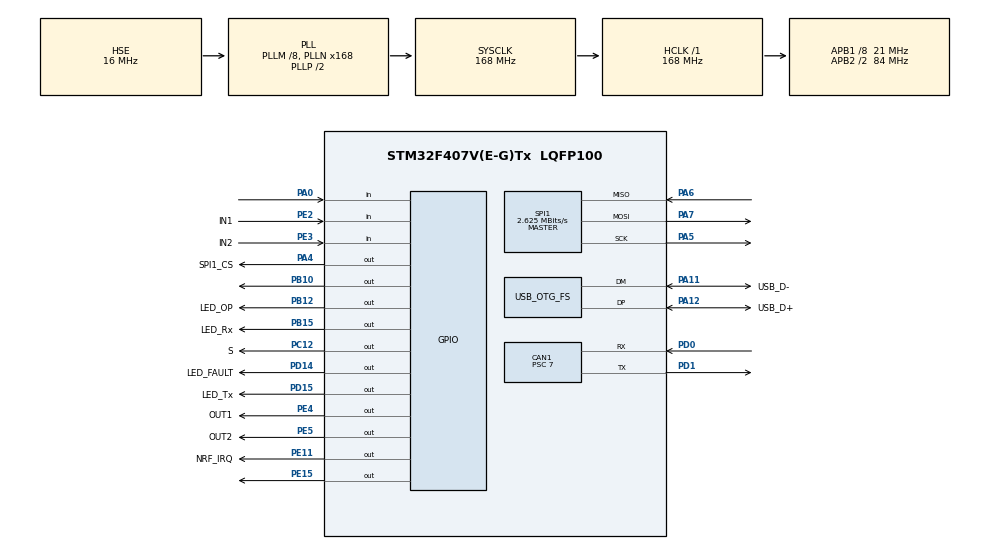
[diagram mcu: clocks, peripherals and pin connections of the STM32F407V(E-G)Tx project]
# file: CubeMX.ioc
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CAN1.BS1=CAN_BS1_3TQ
CAN1.BS2=CAN_BS2_2TQ
CAN1.CalculateBaudRate=500000
CAN1.CalculateTimeBit=1999.99
CAN1.CalculateTimeQuantum=333.33333333333337
CAN1.Mode=CAN_MODE_NORMAL
CAN1.Prescaler=7
Mcu.Family=STM32F4
Mcu.Name=STM32F407V(E-G)Tx
Mcu.Package=LQFP100
NVIC.CAN1_RX0_IRQn=true\:0\:0\:false\:false\:true\:true\:true
NVIC.OTG_FS_IRQn=true\:0\:0\:false\:false\:true\:false\:true
NVIC.PriorityGroup=NVIC_PRIORITYGROUP_4
PA0-WKUP.Signal=GPIO_Input
PA11.GPIO_Label=USB_D-
PA11.Mode=Device_Only
PA11.Signal=USB_OTG_FS_DM
PA12.GPIO_Label=USB_D+
PA12.Mode=Device_Only
PA12.Signal=USB_OTG_FS_DP
PA13.GPIO_Label=SWDIO
PA13.Mode=Trace_Asynchronous_SW
PA13.Signal=SYS_JTMS-SWDIO
PA14.GPIO_Label=SWCLK
PA14.Mode=Trace_Asynchronous_SW
PA14.Signal=SYS_JTCK-SWCLK
PA4.GPIO_Label=SPI1_CS
PA4.Signal=GPIO_Output
PA5.Mode=Full_Duplex_Master
PA5.Signal=SPI1_SCK
PA6.Mode=Full_Duplex_Master
PA6.Signal=SPI1_MISO
PA7.Mode=Full_Duplex_Master
PA7.Signal=SPI1_MOSI
PB10.Signal=GPIO_Output
PB12.GPIO_Label=LED_OP
PB12.Signal=GPIO_Output
PB15.GPIO_Label=LED_Rx
PB15.Signal=GPIO_Output
PB3.Mode=Trace_Asynchronous_SW
PB3.Signal=SYS_JTDO-SWO
PC12.GPIO_Label=S
PC12.Signal=GPIO_Output
PD0.Mode=CAN_Activate
PD0.Signal=CAN1_RX
PD1.Mode=CAN_Activate
PD1.Signal=CAN1_TX
PD14.GPIO_Label=LED_FAULT
PD14.Signal=GPIO_Output
PD15.GPIO_Label=LED_Tx
PD15.Signal=GPIO_Output
PE11.GPIO_Label=NRF_IRQ
PE11.Signal=GPIO_Output
PE15.Signal=GPIO_Output
PE2.GPIO_Label=IN1
PE2.Signal=GPIO_Input
PE3.GPIO_Label=IN2
PE3.Signal=GPIO_Input
PE4.GPIO_Label=OUT1
PE4.Signal=GPIO_Output
PE5.GPIO_Label=OUT2
PE5.Signal=GPIO_Output
PH0-OSC_IN.GPIO_Label=HSE_IN
PH0-OSC_IN.Mode=HSE-External-Oscillator
PH0-OSC_IN.Signal=RCC_OSC_IN
PH1-OSC_OUT.GPIO_Label=HSE_OUT
PH1-OSC_OUT.Mode=HSE-External-Oscillator
PH1-OSC_OUT.Signal=RCC_OSC_OUT
ProjectManager.HeapSize=0x200
ProjectManager.StackSize=0x400
ProjectManager.TargetToolchain=STM32CubeIDE
RCC.48MHZClocksFreq_Value=48000000
RCC.AHBFreq_Value=168000000
RCC.APB1CLKDivider=RCC_HCLK_DIV8
RCC.APB1Freq_Value=21000000
RCC.APB1TimFreq_Value=42000000
RCC.APB2CLKDivider=RCC_HCLK_DIV2
RCC.APB2Freq_Value=84000000
RCC.APB2TimFreq_Value=168000000
RCC.CortexFreq_Value=168000000
RCC.HCLKFreq_Value=168000000
RCC.HSE_VALUE=16000000
RCC.HSI_VALUE=16000000
RCC.LSE_VALUE=32768
RCC.PLLM=8
RCC.PLLN=168
RCC.PLLQ=7
RCC.SYSCLKFreq_VALUE=168000000
RCC.SYSCLKSource=RCC_SYSCLKSOURCE_PLLCLK
RCC.VCOOutputFreq_Value=336000000
SPI1.BaudRatePrescaler=SPI_BAUDRATEPRESCALER_32
SPI1.CalculateBaudRate=2.625 MBits/s
SPI1.Direction=SPI_DIRECTION_2LINES
SPI1.Mode=SPI_MODE_MASTER
SPI1.VirtualType=VM_MASTER
TIM2.Period=255-1
TIM2.Prescaler=646-1
USB_DEVICE.CLASS_NAME_FS=CDC
USB_DEVICE.VirtualMode-CDC_FS=Cdc
USB_DEVICE.VirtualModeFS=Cdc_FS
USB_OTG_FS.VirtualMode=Device_Only
VP_TIM2_VS_ClockSourceINT.Mode=Internal
VP_USB_DEVICE_VS_USB_DEVICE_CDC_FS.Mode=CDC_FS
board=custom

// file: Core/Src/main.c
/* USER CODE BEGIN Header */
/**
  ******************************************************************************
  * File           : main.c
  * Brief          : STM32 Development Board
  * Authors		   : Team 19
  * Version        : 1.0
  * Created		   : Sept 4, 2021
  * Last Modified  : Oct 15, 2021
  ******************************************************************************
  * @attention
  *
  * <h2><center>&copy; Copyright (c) 2021 STMicroelectronics.
  * All rights reserved.</center></h2>
  *
  * This software component is licensed by ST under Ultimate Liberty license
  * SLA0044, the "License"; You may not use this file except in compliance with
  * the License. You may obtain a copy of the License at:
  *                             www.st.com/SLA0044
  *
  ******************************************************************************
  */
/* USER CODE END Header */
#include "main.h"
#include "usb_device.h"

/* USER CODE BEGIN Includes */
#include "NRF24L01.h"
#include "string.h"
/* USER CODE END Includes */

CAN_HandleTypeDef hcan1;

SPI_HandleTypeDef hspi1;

TIM_HandleTypeDef htim2;

void SystemClock_Config(void);
static void MX_GPIO_Init(void);
static void MX_CAN1_Init(void);
static void MX_SPI1_Init(void);
static void MX_TIM2_Init(void);

/* USER CODE BEGIN 0 */

uint8_t TxAddress[] = {0xEE,0xDD,0xCC,0xBB,0xAA}; //RF transmit address
uint8_t RxAddress[] = {0xEE,0xDD,0xCC,0xBB,0xAA}; //RF receive address

CAN_TxHeaderTypeDef TxHeader; //CAN transmit header initialisation
CAN_RxHeaderTypeDef RxHeader; //CAN receive header initialisation
uint32_t TxMailbox; //CAN transmit mailbox initialisation

	/* This program assumes the data being sent over RF is the same being sent over a CAN Bus.
	 * If the user wishes to send different data over RF and CAN, or wishes to send 32 bytes
	 * of data over RF, separate TxData and RxData arrays should be specified for RF and CAN.
	 * Eg. TxDataRF[]= "Hello World /n" and RxData[32] */

/* PROJECT CODE VARIABLE AND DATA ARRAY DEFINITION BEGIN */
int datacheck = 0;
uint8_t TxData[8]; //RF and CAN transmit data array
uint8_t RxData[8]; //RF and CAN receive data array
/* PROJECT CODE VARIABLE AND DATA ARRAY DEFINITION END */

void HAL_CAN_RxFifo0MsgPendingCallback(CAN_HandleTypeDef *hcan1)
{
	HAL_CAN_GetRxMessage(hcan1, CAN_RX_FIFO0, &RxHeader, RxData); // Reads the data received in CAN FIFO

	/* PROJECT CODE CAN DATA PROCESSING BEGIN */
	if (RxHeader.DLC == 2) // EXAMPLE CODE: Change value if DLC also changes
	{
		datacheck = 1;
	}
	/* PROJECT CODE CAN DATA PROCESSING END */
}
/* USER CODE END 0 */

int main(void)
{

  /* MCU Configuration--------------------------------------------------------*/

  /* Reset of all peripherals, Initializes the Flash interface and the Systick. */
  HAL_Init();

  /* Configure the system clock */
  SystemClock_Config();

  /* Initialize all configured peripherals */
  MX_GPIO_Init();
  MX_CAN1_Init();
  MX_SPI1_Init();
  MX_USB_DEVICE_Init();
  MX_TIM2_Init();
  /* USER CODE BEGIN 2 */

  nrfInit(); // Initialise NRF24L01

  /* PROJECT CODE RF CHANNEL BEGIN */
  nrfTxMode(TxAddress,0x0A); // Edit second argument to change channel for RF transmit
  nrfRxMode(RxAddress, 0x0A); // Edit second argument to change channel for RF receive
  /* PROJECT CODE RF CHANNEL END */

  HAL_CAN_Start(&hcan1);

  HAL_CAN_ActivateNotification(&hcan1, CAN_IT_RX_FIFO0_MSG_PENDING); // Activate notification if data

  /* PROJECT CODE CAN HEADER CONFIGURATION BEGIN */
  TxHeader.DLC = 2; // Edit this value to send up to 8 bytes of data in a CAN message.
  TxHeader.ExtId = 0;
  TxHeader.IDE = CAN_ID_STD; // standard CAN frame
  TxHeader.RTR = CAN_RTR_DATA;
  TxHeader.StdId = 0x103; // ID of the sender
  TxHeader.TransmitGlobalTime = DISABLE;
  /* PROJECT CODE CAN HEADER CONFIGURATION END */

  	  /* PROJECT CODE DATA FRAME CONTENT BEGIN */
  	  /* The user can define the data for each array position.
  	   * An example below uses 2 bytes to send LED animation data.
  	   */
  TxData[0] = 200;  // EXAMPLE CODE: Delay between LED blinks in milliseconds (ms)
  TxData[1] = 12; // EXAMPLE CODE: How many times LED blinks
  /* PROJECT CODE DATA FRAME CONTENT END */

  /* Delete comment (//) below if programming a CAN transmitter */
  // HAL_CAN_AddTxMessage(&hcan1, &TxHeader, TxData, &TxMailbox); // Sends message using header and data input defined in fields above

  /* USER CODE END 2 */

  /* Infinite loop */
  while (1)
  {

    /* USER CODE BEGIN 3 */

	  HAL_GPIO_WritePin(GPIOB,LED_OP_Pin,GPIO_PIN_SET); // LED_OP pin is constant HIGH when device is operating as expected

	/* NOTE: The current configuration is for an RF device in RECEIVER mode. If the user wishes
	 * to use this device in TRANSMITTER mode, swap code by commenting each line within RF
	 * RECEIVE MODE and uncommenting RF TRANSMIT MODE.
	 */

	/* RF RECEIVER MODE START */
	  if (dataAvailability(1) == 1) // Check to see if RF Rx data is available to read
	  {
		  nrfReceive(RxData); // Read data to RxData array
		  HAL_GPIO_TogglePin(GPIOB, LED_Rx_Pin); // Flash Rx LED when data is being received

		  /* PROJECT CODE RF DATA PROCESSING BEGIN */
		  	  //EXAMPLE CODE: Blink external LED for RxData[1] number of times with RxData[0] delay.
		  	  for (int i=0; i<RxData[1]; i++)
		  	  {
		  		  HAL_GPIO_TogglePin(GPIOE, OUT1_Pin);
		  		  HAL_Delay(RxData[0]);
		  	  }
		  /* PROJECT CODE RF DATA PROCESSING END */
	  }
	  else
	  {
		  HAL_GPIO_WritePin(GPIOB,LED_OP_Pin,GPIO_PIN_RESET); // Blink LED_OP to indicate no connection/idle state
	  	  HAL_Delay(1000); // Wait 1 second before restarting loop
	  }

	/* RF RECEIVER MODE END */

	/* RF TRANSMITTER MODE START

	   if (nrfTransmIdit(TxData) == 1) // Check to see if Tx data is being transmitted
	  {
		  HAL_GPIO_TogglePin(GPIOD, LED_Tx_Pin); // Flash Rx LED when data is being transmitted
	  }
	  else
	  {
	  	  HAL_GPIO_WritePin(GPIOB,LED_OP_Pin,GPIO_PIN_RESET); // Blink LED_OP to indicate no connection/idle state
	  	  HAL_DELAY(1000); // Wait 1 second before restarting loop
	  }

	  HAL_Delay(1000); // EXAMPLE CODE: Wait 1 second before transmitting data again. If the user
	  	  	  	  	   // requires data to be sent after a trigger (button press), remove the delay.

	   RF TRANSMITTER MODE END */

	  if (datacheck) // Checks to see if CAN message has been sent with expected number of bytes
	  {
		  /* PROJECT CODE RF DATA PROCESSING BEGIN */
		  	  //EXAMPLE CODE: Blink external LED for RxData[1] number of times with RxData[0] delay.
		  	  for (int i=0; i<RxData[1]; i++)
		  	  {
		  		  HAL_GPIO_TogglePin(GPIOE, OUT1_Pin); //blink LED at output Pin
		  		  HAL_Delay(RxData[0]);
		  	  }
		  /* PROJECT CODE CAN DATA PROCESSING END */

		  /* EXAMPLE CODE: With the line of code below enabled, two CAN devices will send
		   * data continuously back and forth. Removing the line will ensure this device
		   * will not transmit a message following a data read.
		   */
		  HAL_CAN_AddTxMessage(&hcan1, &TxHeader, TxData, &TxMailbox); // Sends message using header and data array input as defined in fields.
		  datacheck = 0;
	  }
  }
  /* USER CODE END 3 */
}

void SystemClock_Config(void)
{
  RCC_OscInitTypeDef RCC_OscInitStruct = {0};
  RCC_ClkInitTypeDef RCC_ClkInitStruct = {0};

  /** Configure the main internal regulator output voltage
  */
  __HAL_RCC_PWR_CLK_ENABLE();
  __HAL_PWR_VOLTAGESCALING_CONFIG(PWR_REGULATOR_VOLTAGE_SCALE1);
  /** Initializes the RCC Oscillators according to the specified parameters
  * in the RCC_OscInitTypeDef structure.
  */
  RCC_OscInitStruct.OscillatorType = RCC_OSCILLATORTYPE_HSE;
  RCC_OscInitStruct.HSEState = RCC_HSE_ON;
  RCC_OscInitStruct.PLL.PLLState = RCC_PLL_ON;
  RCC_OscInitStruct.PLL.PLLSource = RCC_PLLSOURCE_HSE;
  RCC_OscInitStruct.PLL.PLLM = 8;
  RCC_OscInitStruct.PLL.PLLN = 168;
  RCC_OscInitStruct.PLL.PLLP = RCC_PLLP_DIV2;
  RCC_OscInitStruct.PLL.PLLQ = 7;
  if (HAL_RCC_OscConfig(&RCC_OscInitStruct) != HAL_OK)
  {
    Error_Handler();
  }
  /** Initializes the CPU, AHB and APB buses clocks
  */
  RCC_ClkInitStruct.ClockType = RCC_CLOCKTYPE_HCLK|RCC_CLOCKTYPE_SYSCLK
                              |RCC_CLOCKTYPE_PCLK1|RCC_CLOCKTYPE_PCLK2;
  RCC_ClkInitStruct.SYSCLKSource = RCC_SYSCLKSOURCE_PLLCLK;
  RCC_ClkInitStruct.AHBCLKDivider = RCC_SYSCLK_DIV1;
  RCC_ClkInitStruct.APB1CLKDivider = RCC_HCLK_DIV8;
  RCC_ClkInitStruct.APB2CLKDivider = RCC_HCLK_DIV2;

  if (HAL_RCC_ClockConfig(&RCC_ClkInitStruct, FLASH_LATENCY_5) != HAL_OK)
  {
    Error_Handler();
  }
}

static void MX_CAN1_Init(void)
{

  hcan1.Instance = CAN1;
  hcan1.Init.Prescaler = 4-1;
  hcan1.Init.Mode = CAN_MODE_NORMAL;
  hcan1.Init.SyncJumpWidth = CAN_SJW_1TQ;
  hcan1.Init.TimeSeg1 = CAN_BS1_3TQ;
  hcan1.Init.TimeSeg2 = CAN_BS2_3TQ;
  hcan1.Init.TimeTriggeredMode = DISABLE;
  hcan1.Init.AutoBusOff = DISABLE;
  hcan1.Init.AutoWakeUp = DISABLE;
  hcan1.Init.AutoRetransmission = DISABLE;
  hcan1.Init.ReceiveFifoLocked = DISABLE;
  hcan1.Init.TransmitFifoPriority = DISABLE;
  if (HAL_CAN_Init(&hcan1) != HAL_OK)
  {
    Error_Handler();
  }
  /* USER CODE BEGIN CAN1_Init 2 */
  CAN_FilterTypeDef canfilterconfig;

  /* PROJECT CODE CAN FILTER CONFIGURATION BEGIN */
  canfilterconfig.FilterActivation = CAN_FILTER_ENABLE;
  canfilterconfig.FilterBank = 10; // Edit to choose which filter bank to use
  canfilterconfig.FilterFIFOAssignment = CAN_FILTER_FIFO0;
  canfilterconfig.FilterIdHigh = 0x446<<5; // Edit to specify the CAN identifier/s permitted
  canfilterconfig.FilterIdLow = 0;
  canfilterconfig.FilterMaskIdHigh = 0x446<<5; // Edit to specify the CAN identifier/s permitted
  canfilterconfig.FilterMaskIdLow = 0x0000;
  canfilterconfig.FilterMode = CAN_FILTERMODE_IDMASK;
  canfilterconfig.FilterScale = CAN_FILTERSCALE_32BIT;
  canfilterconfig.SlaveStartFilterBank = 13; // Edit to specify how many filters to assign to CAN1 (master)
  /* PROJECT CODE CAN FILTER CONFIGURATION END */

  HAL_CAN_ConfigFilter(&hcan1, &canfilterconfig);
  /* USER CODE END CAN1_Init 2 */

}

static void MX_SPI1_Init(void)
{

  /* SPI1 parameter configuration*/
  hspi1.Instance = SPI1;
  hspi1.Init.Mode = SPI_MODE_MASTER;
  hspi1.Init.Direction = SPI_DIRECTION_2LINES;
  hspi1.Init.DataSize = SPI_DATASIZE_8BIT;
  hspi1.Init.CLKPolarity = SPI_POLARITY_LOW;
  hspi1.Init.CLKPhase = SPI_PHASE_1EDGE;
  hspi1.Init.NSS = SPI_NSS_SOFT;
  hspi1.Init.BaudRatePrescaler = SPI_BAUDRATEPRESCALER_32;
  hspi1.Init.FirstBit = SPI_FIRSTBIT_MSB;
  hspi1.Init.TIMode = SPI_TIMODE_DISABLE;
  hspi1.Init.CRCCalculation = SPI_CRCCALCULATION_DISABLE;
  hspi1.Init.CRCPolynomial = 10;
  if (HAL_SPI_Init(&hspi1) != HAL_OK)
  {
    Error_Handler();
  }

}

static void MX_TIM2_Init(void)
{

  TIM_ClockConfigTypeDef sClockSourceConfig = {0};
  TIM_MasterConfigTypeDef sMasterConfig = {0};

  htim2.Instance = TIM2;
  htim2.Init.Prescaler = 646-1;
  htim2.Init.CounterMode = TIM_COUNTERMODE_UP;
  htim2.Init.Period = 255-1;
  htim2.Init.ClockDivision = TIM_CLOCKDIVISION_DIV1;
  htim2.Init.AutoReloadPreload = TIM_AUTORELOAD_PRELOAD_DISABLE;
  if (HAL_TIM_Base_Init(&htim2) != HAL_OK)
  {
    Error_Handler();
  }
  sClockSourceConfig.ClockSource = TIM_CLOCKSOURCE_INTERNAL;
  if (HAL_TIM_ConfigClockSource(&htim2, &sClockSourceConfig) != HAL_OK)
  {
    Error_Handler();
  }
  sMasterConfig.MasterOutputTrigger = TIM_TRGO_RESET;
  sMasterConfig.MasterSlaveMode = TIM_MASTERSLAVEMODE_DISABLE;
  if (HAL_TIMEx_MasterConfigSynchronization(&htim2, &sMasterConfig) != HAL_OK)
  {
    Error_Handler();
  }

}

static void MX_GPIO_Init(void)
{
  GPIO_InitTypeDef GPIO_InitStruct = {0};

  /* GPIO Ports Clock Enable */
  __HAL_RCC_GPIOE_CLK_ENABLE();
  __HAL_RCC_GPIOH_CLK_ENABLE();
  __HAL_RCC_GPIOA_CLK_ENABLE();
  __HAL_RCC_GPIOB_CLK_ENABLE();
  __HAL_RCC_GPIOD_CLK_ENABLE();
  __HAL_RCC_GPIOC_CLK_ENABLE();

  /*Configure GPIO pin Output Level */
  HAL_GPIO_WritePin(GPIOE, OUT1_Pin|OUT2_Pin|NRF_IRQ_Pin|GPIO_PIN_15, GPIO_PIN_RESET);

  /*Configure GPIO pin Output Level */
  HAL_GPIO_WritePin(SPI1_CS_GPIO_Port, SPI1_CS_Pin, GPIO_PIN_RESET);

  /*Configure GPIO pin Output Level */
  HAL_GPIO_WritePin(GPIOB, GPIO_PIN_10|LED_OP_Pin|LED_Rx_Pin, GPIO_PIN_RESET);

  /*Configure GPIO pin Output Level */
  HAL_GPIO_WritePin(GPIOD, LED_FAULT_Pin|LED_Tx_Pin, GPIO_PIN_RESET);

  /*Configure GPIO pin Output Level */
  HAL_GPIO_WritePin(S_GPIO_Port, S_Pin, GPIO_PIN_RESET);

  /*Configure GPIO pins : IN1_Pin IN2_Pin */
  GPIO_InitStruct.Pin = IN1_Pin|IN2_Pin;
  GPIO_InitStruct.Mode = GPIO_MODE_INPUT;
  GPIO_InitStruct.Pull = GPIO_NOPULL;
  HAL_GPIO_Init(GPIOE, &GPIO_InitStruct);

  /*Configure GPIO pins : OUT1_Pin OUT2_Pin NRF_IRQ_Pin PE15 */
  GPIO_InitStruct.Pin = OUT1_Pin|OUT2_Pin|NRF_IRQ_Pin|GPIO_PIN_15;
  GPIO_InitStruct.Mode = GPIO_MODE_OUTPUT_PP;
  GPIO_InitStruct.Pull = GPIO_NOPULL;
  GPIO_InitStruct.Speed = GPIO_SPEED_FREQ_LOW;
  HAL_GPIO_Init(GPIOE, &GPIO_InitStruct);

  /*Configure GPIO pin : PA0 */
  GPIO_InitStruct.Pin = GPIO_PIN_0;
  GPIO_InitStruct.Mode = GPIO_MODE_INPUT;
  GPIO_InitStruct.Pull = GPIO_NOPULL;
  HAL_GPIO_Init(GPIOA, &GPIO_InitStruct);

  /*Configure GPIO pin : SPI1_CS_Pin */
  GPIO_InitStruct.Pin = SPI1_CS_Pin;
  GPIO_InitStruct.Mode = GPIO_MODE_OUTPUT_PP;
  GPIO_InitStruct.Pull = GPIO_NOPULL;
  GPIO_InitStruct.Speed = GPIO_SPEED_FREQ_LOW;
  HAL_GPIO_Init(SPI1_CS_GPIO_Port, &GPIO_InitStruct);

  /*Configure GPIO pins : PB10 LED_OP_Pin LED_Rx_Pin */
  GPIO_InitStruct.Pin = GPIO_PIN_10|LED_OP_Pin|LED_Rx_Pin;
  GPIO_InitStruct.Mode = GPIO_MODE_OUTPUT_PP;
  GPIO_InitStruct.Pull = GPIO_NOPULL;
  GPIO_InitStruct.Speed = GPIO_SPEED_FREQ_LOW;
  HAL_GPIO_Init(GPIOB, &GPIO_InitStruct);

  /*Configure GPIO pins : LED_FAULT_Pin LED_Tx_Pin */
  GPIO_InitStruct.Pin = LED_FAULT_Pin|LED_Tx_Pin;
  GPIO_InitStruct.Mode = GPIO_MODE_OUTPUT_PP;
  GPIO_InitStruct.Pull = GPIO_NOPULL;
  GPIO_InitStruct.Speed = GPIO_SPEED_FREQ_LOW;
  HAL_GPIO_Init(GPIOD, &GPIO_InitStruct);

  /*Configure GPIO pin : S_Pin */
  GPIO_InitStruct.Pin = S_Pin;
  GPIO_InitStruct.Mode = GPIO_MODE_OUTPUT_PP;
  GPIO_InitStruct.Pull = GPIO_NOPULL;
  GPIO_InitStruct.Speed = GPIO_SPEED_FREQ_LOW;
  HAL_GPIO_Init(S_GPIO_Port, &GPIO_InitStruct);

}

void Error_Handler(void)
{
  /* USER CODE BEGIN Error_Handler_Debug */
  __disable_irq();
  while (1)
  {
	  HAL_GPIO_WritePin(GPIOB, LED_OP_Pin,GPIO_PIN_RESET); // Sets LED_OP to LOW if an error has occurred
	  HAL_GPIO_WritePin(GPIOD, LED_FAULT_Pin,GPIO_PIN_SET); // Sets LED_FAULT to HIGH if an error has occurred
  }
  /* USER CODE END Error_Handler_Debug */
}

/************************ (C) COPYRIGHT STMicroelectronics *****END OF FILE****/
